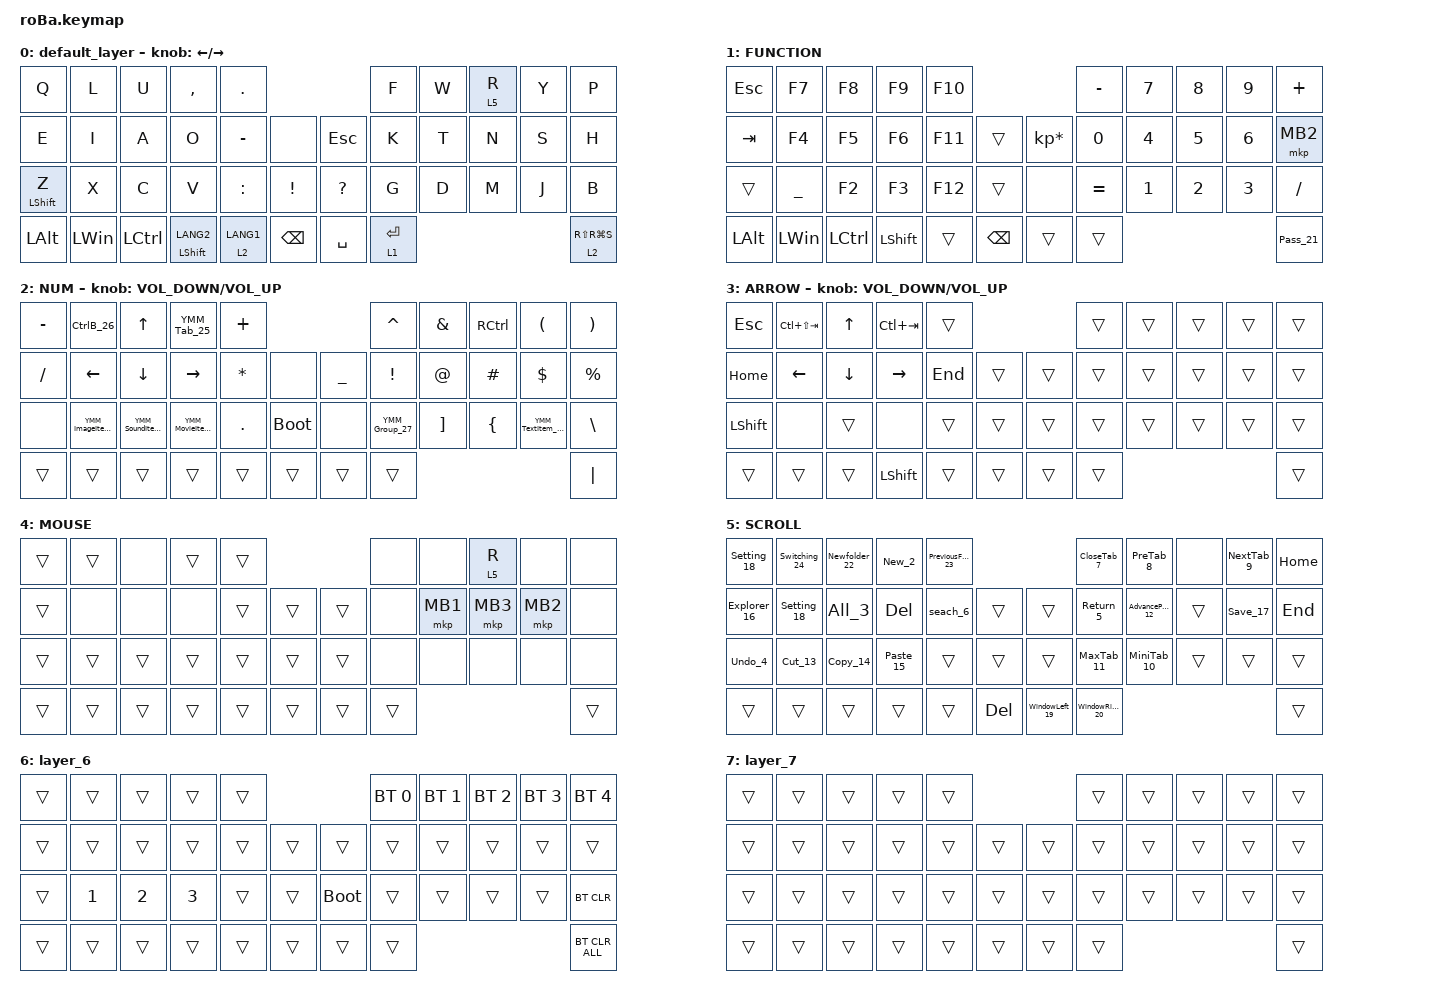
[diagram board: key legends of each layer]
#include <behaviors.dtsi>
#include <dt-bindings/zmk/bt.h>
#include <dt-bindings/zmk/keys.h>
#include <dt-bindings/zmk/pointing.h>

&mt {
    flavor = "balanced";
    quick-tap-ms = <0>;
};

&trackball {
    automouse-layer = <4>;
    scroll-layers = <5>;

    // arrows {
    //     layers = <3>;
    //     bindings =
    //         <&kp RIGHT_ARROW>,
    //         <&kp LEFT_ARROW>,
    //         <&kp UP_ARROW>,
    //         <&kp DOWN_ARROW>;
    //     tick = <10>;
    //     wait-ms = <5>;
    //     tap-ms = <5>;
    // };
};

/ {
    combos {
        compatible = "zmk,combos";

        DoubleQuotation {
            bindings = <&kp DOUBLE_QUOTES>;
            key-positions = <7 2>;
        };
    };

    macros {
        mkp_exit_AML_1: mkp_exit_AML {
            compatible = "zmk,behavior-macro-one-param";
            #binding-cells = <1>;
            bindings =
                <&macro_press>,
                <&macro_param_1to1 &mkp MACRO_PLACEHOLDER>,
                <&macro_pause_for_release>,
                <&macro_release>,
                <&macro_param_1to1 &mkp MACRO_PLACEHOLDER>,
                <&macro_tap>,
                <&sl 4>;

            label = "MKP_EXIT_AML";
        };

        New_2: New {
            compatible = "zmk,behavior-macro";
            #binding-cells = <0>;
            bindings = <&kp LC(N)>;
            label = "NEW";
        };

        All_3: All {
            compatible = "zmk,behavior-macro";
            #binding-cells = <0>;
            bindings = <&kp LC(A)>;
            label = "ALL";
        };

        Undo_4: Undo {
            compatible = "zmk,behavior-macro";
            #binding-cells = <0>;
            bindings = <&kp LC(Z)>;
            label = "UNDO";
        };

        Return_5: Return {
            compatible = "zmk,behavior-macro";
            #binding-cells = <0>;
            bindings = <&kp RA(LEFT)>;
            label = "RETURN";
        };

        seach_6: seach {
            compatible = "zmk,behavior-macro";
            #binding-cells = <0>;
            bindings = <&kp LC(F)>;
            label = "SEACH";
        };

        CloseTab_7: CloseTab {
            compatible = "zmk,behavior-macro";
            #binding-cells = <0>;
            bindings = <&kp RC(W)>;
            label = "CLOSETAB";
        };

        PreTab_8: PreTab {
            compatible = "zmk,behavior-macro";
            #binding-cells = <0>;
            bindings = <&kp RS(RC(TAB))>;
            label = "PRETAB";
        };

        NextTab_9: NextTab {
            compatible = "zmk,behavior-macro";
            #binding-cells = <0>;
            bindings = <&kp RC(TAB)>;
            label = "NEXTTAB";
        };

        MiniTab_10: MiniTab {
            compatible = "zmk,behavior-macro";
            #binding-cells = <0>;
            bindings = <&kp RG(DOWN)>;
            label = "MAXTAB";
        };

        MaxTab_11: MaxTab {
            compatible = "zmk,behavior-macro";
            #binding-cells = <0>;
            bindings = <&kp RG(UP)>;
            label = "MAXTAB";
        };

        AdvancePage_12: AdvancePage {
            compatible = "zmk,behavior-macro";
            #binding-cells = <0>;
            bindings = <&kp RA(RIGHT)>;
            label = "ADVANCEPAGE";
        };

        Cut_13: cut {
            compatible = "zmk,behavior-macro";
            #binding-cells = <0>;
            bindings = <&kp LC(X)>;
            label = "CUT";
        };

        Copy_14: copy {
            compatible = "zmk,behavior-macro";
            #binding-cells = <0>;
            bindings = <&kp LC(C)>;
            label = "COPY";
        };

        Paste_15: Paste {
            compatible = "zmk,behavior-macro";
            #binding-cells = <0>;
            bindings = <&kp LC(V)>;
            label = "PASTE";
        };

        Explorer_16: Explorer {
            compatible = "zmk,behavior-macro";
            #binding-cells = <0>;
            bindings = <&kp LG(E)>;
            label = "EXPLORER";
        };

        Save_17: Save {
            compatible = "zmk,behavior-macro";
            #binding-cells = <0>;
            bindings = <&kp LC(S)>;
            label = "SAVE";
        };

        Setting_18: Setting {
            compatible = "zmk,behavior-macro";
            #binding-cells = <0>;
            bindings = <&kp RG(I)>;
            label = "SETTING";
        };

        WindowLeft_19: WindowLeft {
            compatible = "zmk,behavior-macro";
            #binding-cells = <0>;
            bindings = <&kp LG(LEFT)>;
            label = "WINDOWLEFT";
        };

        WindowRight_20: WindowRight {
            compatible = "zmk,behavior-macro";
            #binding-cells = <0>;
            bindings = <&kp LG(RIGHT)>;
            label = "WINDOWRIGHT";
        };

        Pass_21: Pass {
            compatible = "zmk,behavior-macro";
            #binding-cells = <0>;
            bindings = <&kp Q &kp W &kp E &kp R &kp ENTER>;
            label = "PASS";
        };

        Newfolder_22: Newfolder {
            compatible = "zmk,behavior-macro";
            #binding-cells = <0>;
            bindings = <&kp LC(LS(N))>;
            label = "NEWFOLDER";
        };

        PreviousFolder_23: PreviousFolder {
            compatible = "zmk,behavior-macro";
            #binding-cells = <0>;
            bindings = <&kp LA(UP_ARROW)>;
            label = "PREVIOUSFOLDER";
        };

        Switching_24: Switching {
            compatible = "zmk,behavior-macro";
            #binding-cells = <0>;
            bindings = <&kp LA(TAB)>;
            label = "SWITCHING";
        };

        YMM_Tab_25: YMM_Text_Shotcut {
            compatible = "zmk,behavior-macro";
            #binding-cells = <0>;
            bindings = <&kp LC(TAB)>;
            label = "YMM_TEXT_SHOTCUT";
        };

        CtrlB_26: CtrlB {
            compatible = "zmk,behavior-macro";
            #binding-cells = <0>;
            bindings = <&kp LC(B)>;
            label = "CTRLB";
        };

        YMM_Group_27: YMM_Group {
            compatible = "zmk,behavior-macro";
            #binding-cells = <0>;
            bindings = <&kp LC(G)>;
            label = "YMM_GROUP";
        };

        YMM_TextItem_28: YMM_TextItem {
            compatible = "zmk,behavior-macro";
            #binding-cells = <0>;
            bindings = <&mkp MB2 &kp J>;
            label = "YMM_TEXT";
        };

        YMM_SoundItem_29: YMM_SoundItem {
            compatible = "zmk,behavior-macro";
            #binding-cells = <0>;
            bindings = <&mkp MB2 &kp A &kp ENTER>;
            label = "YMM_TEXT";
        };

        YMM_ImageItem_30: YMM_ImageItem {
            compatible = "zmk,behavior-macro";
            #binding-cells = <0>;
            bindings = <&mkp MB2 &kp I>;
            label = "YMM_IMAGEITEM";
        };

        YMM_MovieItem_31: YMM_MovieItem {
            compatible = "zmk,behavior-macro";
            #binding-cells = <0>;
            bindings = <&mkp MB2 &kp V>;
            label = "YMM_MOVIEITEM";
        };
    };

    behaviors {
        lt_to_layer_0: lt_to_layer_0 {
            compatible = "zmk,behavior-hold-tap";
            label = "LAYER_TAP_TO_0";
            bindings = <&mo>, <&Copy_14>;

            #binding-cells = <2>;
            tapping-term-ms = <200>;
        };
    };

    keymap {
        compatible = "zmk,keymap";

        default_layer {
            bindings = <
&kp Q             &kp L         &kp U      &kp COMMA             &kp PERIOD                                      &kp F        &kp W  &lt 5 R  &kp Y  &kp P
&kp E             &kp I         &kp A      &kp O                 &kp MINUS    &none                &kp ESCAPE    &kp K        &kp T  &kp N    &kp S  &kp H
&mt LEFT_SHIFT Z  &kp X         &kp C      &kp V                 &kp COLON    &kp EXCLAMATION      &kp QUESTION  &kp G        &kp D  &kp M    &kp J  &kp B
&kp LEFT_ALT      &kp LEFT_WIN  &kp LCTRL  &mt LEFT_SHIFT LANG2  &lt 2 LANG1  &kp BACKSPACE        &kp SPACE     &lt 1 ENTER                         &lt 2 RS(RG(S))
            >;

            sensor-bindings = <&inc_dec_kp LEFT RIGHT>;
        };

        FUNCTION {
            bindings = <
&kp ESC       &kp F7          &kp F8     &kp F9          &kp F10                                      &kp MINUS     &kp NUMBER_7  &kp NUMBER_8  &kp NUMBER_9  &kp PLUS
&kp TAB       &kp F4          &kp F5     &kp F6          &kp F11  &trans             &kp KP_MULTIPLY  &kp NUMBER_0  &kp NUMBER_4  &kp NUMBER_5  &kp NUMBER_6  &mkp MB2
&trans        &kp UNDERSCORE  &kp F2     &kp F3          &kp F12  &trans             &none            &kp EQUAL     &kp NUMBER_1  &kp NUMBER_2  &kp NUMBER_3  &kp SLASH
&kp LEFT_ALT  &kp LEFT_WIN    &kp LCTRL  &kp LEFT_SHIFT  &trans   &kp BACKSPACE      &trans           &trans                                                  &Pass_21
            >;
        };

        NUM {
            bindings = <
&kp MINUS  &CtrlB_26          &kp UP_ARROW       &YMM_Tab_25        &kp PLUS                                       &kp CARET        &kp AMPERSAND      &kp RCTRL       &kp LEFT_PARENTHESIS  &kp RIGHT_PARENTHESIS
&kp SLASH  &kp LEFT_ARROW     &kp DOWN_ARROW     &kp RIGHT_ARROW    &kp ASTERISK  &none            &kp UNDERSCORE  &kp EXCLAMATION  &kp AT_SIGN        &kp HASH        &kp DOLLAR            &kp PERCENT
&none      &YMM_ImageItem_30  &YMM_SoundItem_29  &YMM_MovieItem_31  &kp PERIOD    &bootloader      &none           &YMM_Group_27    &kp RIGHT_BRACKET  &kp LEFT_BRACE  &YMM_TextItem_28      &kp BACKSLASH
&trans     &trans             &trans             &trans             &trans        &trans           &trans          &trans                                                                    &kp PIPE
            >;

            sensor-bindings = <&inc_dec_kp C_VOLUME_DOWN C_VOLUME_UP>;
        };

        ARROW {
            bindings = <
&kp ESCAPE      &kp LC(LS(TAB))  &kp UP_ARROW    &kp LC(TAB)      &trans                       &trans  &trans  &trans  &trans  &trans
&kp HOME        &kp LEFT_ARROW   &kp DOWN_ARROW  &kp RIGHT_ARROW  &kp END  &trans      &trans  &trans  &trans  &trans  &trans  &trans
&kp LEFT_SHIFT  &none            &trans          &none            &trans   &trans      &trans  &trans  &trans  &trans  &trans  &trans
&trans          &trans           &trans          &kp LEFT_SHIFT   &trans   &trans      &trans  &trans                          &trans
            >;

            sensor-bindings = <&inc_dec_kp C_VOLUME_DOWN C_VOLUME_UP>;
        };

        MOUSE {
            bindings = <
&trans  &trans  &none   &trans  &trans                      &none   &none     &lt 5 R   &none     &none
&trans  &none   &none   &none   &trans  &trans      &trans  &none   &mkp MB1  &mkp MB3  &mkp MB2  &none
&trans  &trans  &trans  &trans  &trans  &trans      &trans  &none   &none     &none     &none     &none
&trans  &trans  &trans  &trans  &trans  &trans      &trans  &trans                                &trans
            >;
        };

        SCROLL {
            bindings = <
&Setting_18   &Switching_24  &Newfolder_22  &New_2      &PreviousFolder_23                                  &CloseTab_7      &PreTab_8        &none   &NextTab_9  &kp HOME
&Explorer_16  &Setting_18    &All_3         &kp DELETE  &seach_6            &trans          &trans          &Return_5        &AdvancePage_12  &trans  &Save_17    &kp END
&Undo_4       &Cut_13        &Copy_14       &Paste_15   &trans              &trans          &trans          &MaxTab_11       &MiniTab_10      &trans  &trans      &trans
&trans        &trans         &trans         &trans      &trans              &kp DELETE      &WindowLeft_19  &WindowRight_20                                       &trans
            >;
        };

        layer_6 {
            bindings = <
&trans  &trans        &trans        &trans        &trans                           &bt BT_SEL 0  &bt BT_SEL 1  &bt BT_SEL 2  &bt BT_SEL 3  &bt BT_SEL 4
&trans  &trans        &trans        &trans        &trans  &trans      &trans       &trans        &trans        &trans        &trans        &trans
&trans  &kp NUMBER_1  &kp NUMBER_2  &kp NUMBER_3  &trans  &trans      &bootloader  &trans        &trans        &trans        &trans        &bt BT_CLR
&trans  &trans        &trans        &trans        &trans  &trans      &trans       &trans                                                  &bt BT_CLR_ALL
            >;
        };

        layer_7 {
            bindings = <
&trans  &trans  &trans  &trans  &trans                      &trans  &trans  &trans  &trans  &trans
&trans  &trans  &trans  &trans  &trans  &trans      &trans  &trans  &trans  &trans  &trans  &trans
&trans  &trans  &trans  &trans  &trans  &trans      &trans  &trans  &trans  &trans  &trans  &trans
&trans  &trans  &trans  &trans  &trans  &trans      &trans  &trans                          &trans
            >;
        };
    };
};
